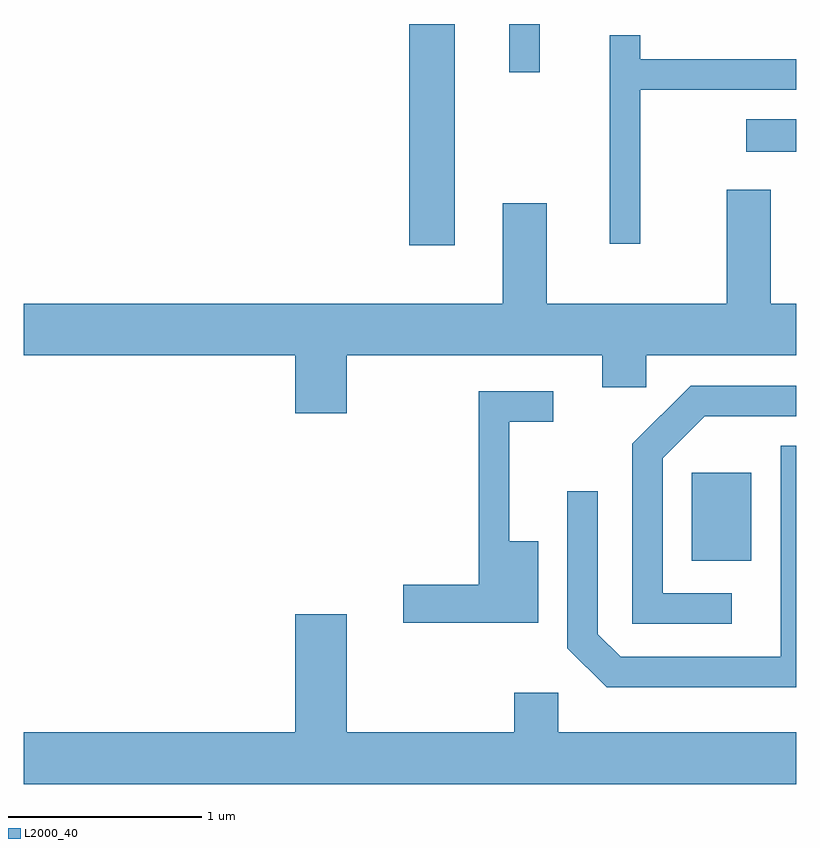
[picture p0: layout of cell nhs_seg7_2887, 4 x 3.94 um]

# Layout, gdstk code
import gdstk
lib = gdstk.Library(unit=1e-6, precision=1e-09)
def R(c, l, rs):  # rectangles x0, y0, x1, y1
    for r in rs: c.add(gdstk.rectangle(r[:2], r[2:], *l))
def P(c, l, *ps):  # polygons
    for p in ps: c.add(gdstk.Polygon(p, *l))
L2000_40 = (2000, 40)

nhs_seg7_2887 = lib.new_cell('nhs_seg7_2887')
R(nhs_seg7_2887, L2000_40, [(277.071,1715.471,277.379,1715.929), (275.606,1717.106,275.844,1718.252), (277.353,1717.591,277.611,1717.759), (276.126,1718.003,276.284,1718.252), (277.061,1718.251,277.611,1718.252)])
P(nhs_seg7_2887, L2000_40, [(276.804,1717.911),(277.611,1717.911),(277.611,1718.069),(276.804,1718.069),(276.804,1718.193),(276.646,1718.193),(276.646,1717.113),(276.804,1717.113)],
  [(275.284,1716.536),(276.606,1716.536),(276.606,1716.371),(276.834,1716.371),(276.834,1716.536),(277.611,1716.536),(277.611,1716.804),(277.479,1716.804),(277.479,1717.394),(277.251,1717.394),(277.251,1716.804),(276.319,1716.804),(276.319,1717.324),(276.091,1717.324),(276.091,1716.804),(273.611,1716.804),(273.611,1716.536),(275.016,1716.536),(275.016,1716.236),(275.284,1716.236)],
  [(277.278,1715.304),(276.919,1715.304),(276.919,1716.004),(277.137,1716.221),(277.611,1716.221),(277.611,1716.379),(277.064,1716.379),(276.761,1716.077),(276.761,1715.146),(277.278,1715.146)],
  [(276.274,1715.574),(276.124,1715.574),(276.124,1716.191),(276.353,1716.191),(276.353,1716.349),(275.966,1716.349),(275.966,1715.349),(275.576,1715.349),(275.576,1715.151),(276.274,1715.151)],
  [(277.611,1716.069),(277.531,1716.069),(277.531,1714.974),(276.702,1714.974),(276.584,1715.092),(276.584,1715.833),(276.426,1715.833),(276.426,1715.019),(276.629,1714.816),(277.611,1714.816)],
  [(277.611,1714.584),(276.379,1714.584),(276.379,1714.789),(276.151,1714.789),(276.151,1714.584),(275.284,1714.584),(275.284,1715.194),(275.016,1715.194),(275.016,1714.584),(273.611,1714.584),(273.611,1714.316),(277.611,1714.316)])

lib.write_gds('nhs_seg7_2887.gds')
